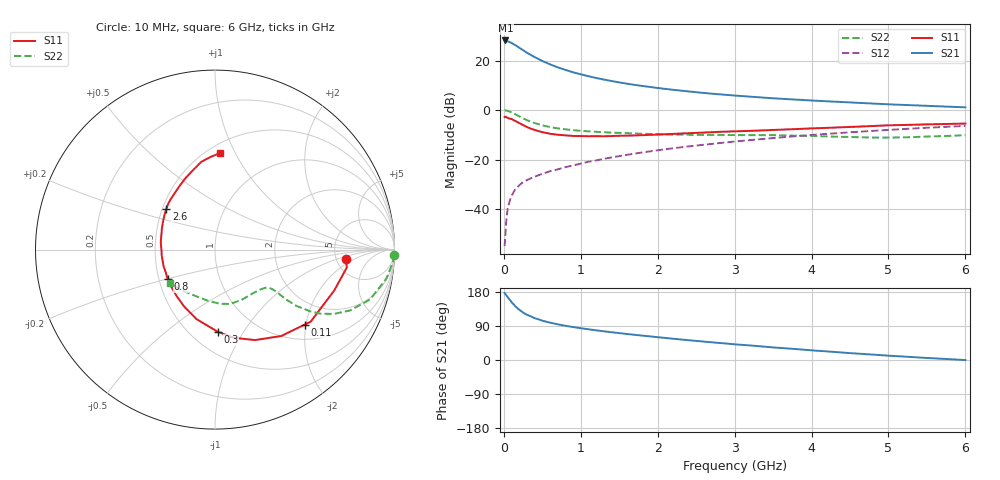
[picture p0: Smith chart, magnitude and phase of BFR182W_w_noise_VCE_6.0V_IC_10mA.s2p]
! Infineon Technologies  Discrete & RF Semiconductors
! BFR182W
! VCE =  6.0 V,  IC =  10 mA
! Common Emitter S-Parameters:  Jan 2017
# GHz  S  MA  R  50
!  f  S11  S21  S12  S22
! GHz  MAG  ANG  MAG  ANG  MAG  ANG  MAG  ANG
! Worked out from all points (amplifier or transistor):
!   77 points, 10 MHz to 6 GHz, reference 50 ohm
!   highest |S21| = 28.2 dB at 20 MHz (marker M1)
!   |S21| within 3 dB of that: start of sweep to 203.8 MHz
!   unconditionally stable (mu >= 1): 1.122 GHz to 2.632 GHz
!   at 130 MHz: K = 0.28, MSG = 29.8 dB, |S12| = -32.9 dB
!   at 2.2 GHz: K = 1.02, MAG = 10.9 dB, |S12| = -15.4 dB
!   at 6 GHz: K = 0.86, MSG = 3.7 dB, |S12| = -6.3 dB
!   lowest NFmin = 1.07 dB at 450 MHz
!   S11 on the Smith chart (normalised r, x): 10 MHz: 6.14, -1.31; 110 MHz: 1.35, -1.97; 300 MHz: 0.67, -0.78; 800 MHz: 0.56, -0.20; 2.6 GHz: 0.52, +0.27; 6 GHz: 0.58, +0.87
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0.01  0.7305 -3.9  25.46 176.6  0.0018 84.6  0.9952 -1.8
0.02  0.7413 -7.7  25.6 174.1  0.0031 88.0  0.9945 -4.0
0.05  0.7018 -19.1  24.71 165.7  0.0101 78.9  0.9685 -9.6
0.1  0.6674 -37.0  22.88 152.7  0.0186 75.3  0.9073 -17.8
0.11  0.6515 -39.9  22.36 150.7  0.0199 73.3  0.8906 -19.0
0.15  0.6063 -52.6  20.56 141.7  0.0254 67.4  0.828 -24.1
0.2  0.5513 -66.1  18.28 132.7  0.0304 65.2  0.7536 -28.4
0.25  0.5022 -78.0  16.29 125.2  0.0355 61.8  0.687 -31.3
0.3  0.458 -88.1  14.48 119.4  0.0388 60.7  0.6304 -33.0
0.4  0.4008 -104.9  11.82 110.4  0.0455 59.8  0.5495 -34.7
0.5  0.3607 -118.5  9.843 103.8  0.052 60.6  0.4945 -35.0
0.6  0.3352 -129.9  8.436 98.6  0.0585 60.9  0.457 -34.9
0.8  0.3108 -148.0  6.517 90.3  0.0708 63.2  0.4111 -34.5
0.9  0.3022 -155.6  5.834 86.9  0.077 63.7  0.3959 -34.5
1.1  0.2982 -168.3  4.859 81.1  0.0911 65.1  0.3753 -35.0
1.5  0.3045 172.5  3.642 71.0  0.1183 65.5  0.3478 -38.0
2.1  0.3272 152.5  2.694 58.2  0.1628 64.5  0.3253 -46.9
2.6  0.3542 139.8  2.231 48.5  0.2007 62.2  0.3173 -56.8
3.1  0.3785 128.9  1.928 39.9  0.241 59.1  0.3142 -66.7
4.1  0.4347 111.3  1.542 24.1  0.3243 51.5  0.2991 -87.2
5.1  0.4993 97.5  1.297 10.2  0.4086 42.4  0.2814 -117.0
6  0.5381 87.0  1.143 -0.2  0.4822 33.3  0.3137 -143.9
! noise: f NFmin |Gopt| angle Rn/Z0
0.45  1.07  0.08  50  0.15
0.9  1.15  0.07  86  0.15
1.9  1.65  0.19  -164  0.13
2.4  1.9  0.18  -156  0.2
